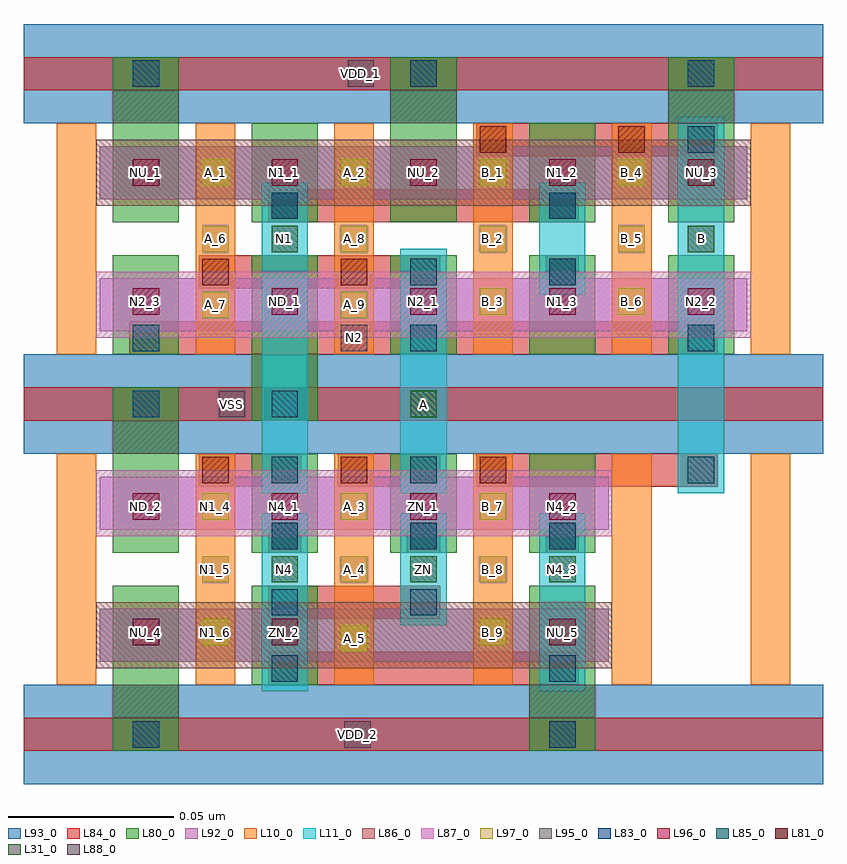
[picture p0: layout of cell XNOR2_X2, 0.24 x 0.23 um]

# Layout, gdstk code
import gdstk
lib = gdstk.Library(unit=1e-6, precision=1e-09)
def R(c, l, rs):  # rectangles x0, y0, x1, y1
    for r in rs: c.add(gdstk.rectangle(r[:2], r[2:], *l))
def A(c, l, x, y, w, h, nx, ny, dx, dy):  # array of equal rectangles
    R(c, l, [(x+i*dx, y+j*dy, x+i*dx+w, y+j*dy+h) for i in range(nx) for j in range(ny)])
L10_0 = (10, 0)
L11_0 = (11, 0)
L31_0 = (31, 0)
L80_0 = (80, 0)
L81_0 = (81, 0)
L83_0 = (83, 0)
L84_0 = (84, 0)
L85_0 = (85, 0)
L86_0 = (86, 0)
L87_0 = (87, 0)
L88_0 = (88, 0)
L92_0 = (92, 0)
L93_0 = (93, 0)
L95_0 = (95, 0)
L96_0 = (96, 0)
L97_0 = (97, 0)

xnor2_x2 = lib.new_cell('XNOR2_X2')
A(xnor2_x2, L10_0, -0.027, -0.085, 0.012, 0.07, 6, 2, 0.042, 0.1)
A(xnor2_x2, L11_0, 0.035, -0.067, 0.014, 0.034, 3, 1, 0.042, 0)
A(xnor2_x2, L11_0, 0.035, -0.027, 0.014, 0.034, 1, 4, 0, 0.02)
A(xnor2_x2, L11_0, 0.077, -0.027, 0.014, 0.034, 1, 3, 0, 0.02)
A(xnor2_x2, L11_0, 0.161, -0.027, 0.014, 0.034, 1, 5, 0, 0.02)
R(xnor2_x2, L11_0, [(0.035,-0.087,0.049,-0.053), (0.119,-0.087,0.133,-0.053), (0.119,0.033,0.133,0.067)])
A(xnor2_x2, L31_0, 0.038, -0.054, 0.008, 0.008, 3, 1, 0.042, 0)
R(xnor2_x2, L31_0, [(0.08,-0.004,0.088,0.004), (0.038,0.046,0.046,0.054), (0.164,0.046,0.172,0.054)])
A(xnor2_x2, L80_0, -0.01, -0.045, 0.02, 0.03, 4, 1, 0.042, 0)
A(xnor2_x2, L80_0, -0.01, 0.015, 0.02, 0.03, 5, 2, 0.042, 0.04)
A(xnor2_x2, L80_0, -0.01, 0.075, 0.02, 0.03, 3, 1, 0.084, 0)
R(xnor2_x2, L80_0, [(-0.01,-0.105,0.01,-0.075), (0.116,-0.105,0.136,-0.075), (-0.01,-0.085,0.01,-0.055), (0.032,-0.085,0.052,-0.055), (0.116,-0.085,0.136,-0.055), (-0.01,-0.025,0.01,0.005), (0.032,-0.005,0.052,0.025)])
A(xnor2_x2, L81_0, 0.017, -0.024, 0.008, 0.008, 3, 1, 0.042, 0)
R(xnor2_x2, L81_0, [(0.017,0.036,0.025,0.044), (0.059,0.036,0.067,0.044), (0.101,0.076,0.109,0.084), (0.143,0.076,0.151,0.084)])
A(xnor2_x2, L83_0, 0.038, -0.064, 0.008, 0.008, 1, 3, 0, 0.06)
A(xnor2_x2, L83_0, 0.038, -0.044, 0.008, 0.008, 3, 1, 0.042, 0)
A(xnor2_x2, L83_0, -0.004, 0.016, 0.008, 0.008, 3, 2, 0.084, 0.08)
R(xnor2_x2, L83_0, [(-0.004,-0.104,0.004,-0.096), (0.122,-0.104,0.13,-0.096), (-0.004,-0.004,0.004,0.004), (0.122,0.036,0.13,0.044), (0.122,0.056,0.13,0.064)])
A(xnor2_x2, L84_0, -0.037, -0.105, 0.242, 0.01, 1, 3, 0, 0.1)
A(xnor2_x2, L84_0, 0.037, -0.085, 0.031, 0.01, 4, 2, 0.021, 0.14)
A(xnor2_x2, L84_0, 0.037, -0.045, 0.01, 0.01, 3, 1, 0.042, 0)
A(xnor2_x2, L84_0, 0.016, -0.025, 0.031, 0.01, 3, 1, 0.042, 0)
A(xnor2_x2, L84_0, -0.005, 0.015, 0.031, 0.01, 8, 1, 0.021, 0)
A(xnor2_x2, L84_0, 0.016, 0.035, 0.031, 0.01, 3, 1, 0.021, 0)
A(xnor2_x2, L84_0, 0.1, 0.075, 0.031, 0.01, 3, 1, 0.021, 0)
R(xnor2_x2, L84_0, [(0.037,-0.065,0.068,-0.055), (0.058,-0.065,0.089,-0.055), (0.121,-0.025,0.152,-0.015), (0.142,-0.025,0.173,-0.015), (0.121,0.035,0.131,0.045)])
A(xnor2_x2, L85_0, 0.038, -0.044, 0.008, 0.008, 3, 1, 0.042, 0)
R(xnor2_x2, L85_0, [(0.038,-0.084,0.046,-0.076), (0.122,-0.084,0.13,-0.076), (0.08,-0.064,0.088,-0.056), (0.038,-0.024,0.046,-0.016), (0.08,-0.024,0.088,-0.016), (0.164,-0.024,0.172,-0.016), (0.08,0.036,0.088,0.044), (0.122,0.036,0.13,0.044), (0.038,0.056,0.046,0.064), (0.122,0.056,0.13,0.064), (0.164,0.076,0.172,0.084)])
R(xnor2_x2, L86_0, [(-0.015,-0.08,0.141,-0.06), (-0.015,0.06,0.183,0.08)])
R(xnor2_x2, L87_0, [(-0.015,-0.04,0.141,-0.02), (-0.015,0.02,0.183,0.04)])
R(xnor2_x2, L88_0, [(0.06,-0.104,0.068,-0.096), (0.022,-0.004,0.03,0.004), (0.059,0.016,0.067,0.024), (0.061,0.096,0.069,0.104)])
R(xnor2_x2, L92_0, [(-0.014,-0.078,0.14,-0.062), (-0.014,-0.038,0.14,-0.022), (-0.014,0.022,0.182,0.038), (-0.014,0.062,0.182,0.078)])
A(xnor2_x2, L93_0, -0.037, -0.115, 0.242, 0.03, 1, 3, 0, 0.1)
A(xnor2_x2, L95_0, -0.01, 0.085, 0.02, 0.01, 3, 1, 0.084, 0)
R(xnor2_x2, L95_0, [(-0.01,-0.095,0.01,-0.085), (0.116,-0.095,0.136,-0.085), (-0.01,-0.015,0.01,-0.005)])
A(xnor2_x2, L96_0, -0.004, -0.035, 0.008, 0.008, 4, 1, 0.042, 0)
A(xnor2_x2, L96_0, -0.004, 0.027, 0.008, 0.008, 5, 2, 0.042, 0.039)
R(xnor2_x2, L96_0, [(-0.004,-0.073,0.004,-0.065), (0.038,-0.073,0.046,-0.065), (0.122,-0.073,0.13,-0.065)])
A(xnor2_x2, L97_0, 0.017, -0.054, 0.008, 0.008, 3, 2, 0.042, 0.019)
A(xnor2_x2, L97_0, 0.017, 0.046, 0.008, 0.008, 4, 2, 0.042, 0.02)
R(xnor2_x2, L97_0, [(0.059,-0.075,0.067,-0.067), (0.017,-0.073,0.025,-0.065), (0.101,-0.073,0.109,-0.065), (0.017,0.026,0.025,0.034), (0.059,0.026,0.067,0.034), (0.101,0.027,0.109,0.035), (0.143,0.027,0.151,0.035)])
xnor2_x2.add(gdstk.Label('N2', (0.063,0.02), layer=88, texttype=0))
xnor2_x2.add(gdstk.Label('VDD_2', (0.064,-0.1), layer=88, texttype=0))
xnor2_x2.add(gdstk.Label('VSS', (0.026,0), layer=88, texttype=0))
xnor2_x2.add(gdstk.Label('VDD_1', (0.065,0.1), layer=88, texttype=0))
xnor2_x2.add(gdstk.Label('N4', (0.042,-0.05), layer=31, texttype=0))
xnor2_x2.add(gdstk.Label('N1', (0.042,0.05), layer=31, texttype=0))
xnor2_x2.add(gdstk.Label('A', (0.084,0), layer=31, texttype=0))
xnor2_x2.add(gdstk.Label('B', (0.168,0.05), layer=31, texttype=0))
xnor2_x2.add(gdstk.Label('ZN', (0.084,-0.05), layer=31, texttype=0))
xnor2_x2.add(gdstk.Label('N4_3', (0.126,-0.05), layer=31, texttype=0))
xnor2_x2.add(gdstk.Label('NU_4', (0,-0.069), layer=96, texttype=0))
xnor2_x2.add(gdstk.Label('NU_5', (0.126,-0.069), layer=96, texttype=0))
xnor2_x2.add(gdstk.Label('ND_1', (0.042,0.031), layer=96, texttype=0))
xnor2_x2.add(gdstk.Label('ND_2', (0,-0.031), layer=96, texttype=0))
xnor2_x2.add(gdstk.Label('N1_1', (0.042,0.07), layer=96, texttype=0))
xnor2_x2.add(gdstk.Label('N1_2', (0.126,0.07), layer=96, texttype=0))
xnor2_x2.add(gdstk.Label('N1_3', (0.126,0.031), layer=96, texttype=0))
xnor2_x2.add(gdstk.Label('N2_2', (0.168,0.031), layer=96, texttype=0))
xnor2_x2.add(gdstk.Label('N4_1', (0.042,-0.031), layer=96, texttype=0))
xnor2_x2.add(gdstk.Label('N4_2', (0.126,-0.031), layer=96, texttype=0))
xnor2_x2.add(gdstk.Label('N2_1', (0.084,0.031), layer=96, texttype=0))
xnor2_x2.add(gdstk.Label('N2_3', (0,0.031), layer=96, texttype=0))
xnor2_x2.add(gdstk.Label('ZN_1', (0.084,-0.031), layer=96, texttype=0))
xnor2_x2.add(gdstk.Label('ZN_2', (0.042,-0.069), layer=96, texttype=0))
xnor2_x2.add(gdstk.Label('NU_1', (0,0.07), layer=96, texttype=0))
xnor2_x2.add(gdstk.Label('NU_2', (0.084,0.07), layer=96, texttype=0))
xnor2_x2.add(gdstk.Label('NU_3', (0.168,0.07), layer=96, texttype=0))
xnor2_x2.add(gdstk.Label('A_9', (0.063,0.03), layer=97, texttype=0))
xnor2_x2.add(gdstk.Label('A_5', (0.063,-0.071), layer=97, texttype=0))
xnor2_x2.add(gdstk.Label('A_2', (0.063,0.07), layer=97, texttype=0))
xnor2_x2.add(gdstk.Label('A_1', (0.021,0.07), layer=97, texttype=0))
xnor2_x2.add(gdstk.Label('A_4', (0.063,-0.05), layer=97, texttype=0))
xnor2_x2.add(gdstk.Label('A_3', (0.063,-0.031), layer=97, texttype=0))
xnor2_x2.add(gdstk.Label('B_6', (0.147,0.031), layer=97, texttype=0))
xnor2_x2.add(gdstk.Label('B_5', (0.147,0.05), layer=97, texttype=0))
xnor2_x2.add(gdstk.Label('B_4', (0.147,0.07), layer=97, texttype=0))
xnor2_x2.add(gdstk.Label('B_3', (0.105,0.031), layer=97, texttype=0))
xnor2_x2.add(gdstk.Label('B_2', (0.105,0.05), layer=97, texttype=0))
xnor2_x2.add(gdstk.Label('B_1', (0.105,0.07), layer=97, texttype=0))
xnor2_x2.add(gdstk.Label('B_9', (0.105,-0.069), layer=97, texttype=0))
xnor2_x2.add(gdstk.Label('B_7', (0.105,-0.031), layer=97, texttype=0))
xnor2_x2.add(gdstk.Label('B_8', (0.105,-0.05), layer=97, texttype=0))
xnor2_x2.add(gdstk.Label('A_8', (0.063,0.05), layer=97, texttype=0))
xnor2_x2.add(gdstk.Label('A_6', (0.021,0.05), layer=97, texttype=0))
xnor2_x2.add(gdstk.Label('N1_6', (0.021,-0.069), layer=97, texttype=0))
xnor2_x2.add(gdstk.Label('N1_5', (0.021,-0.05), layer=97, texttype=0))
xnor2_x2.add(gdstk.Label('N1_4', (0.021,-0.031), layer=97, texttype=0))
xnor2_x2.add(gdstk.Label('A_7', (0.021,0.03), layer=97, texttype=0))

lib.write_gds('XNOR2_X2.gds')
